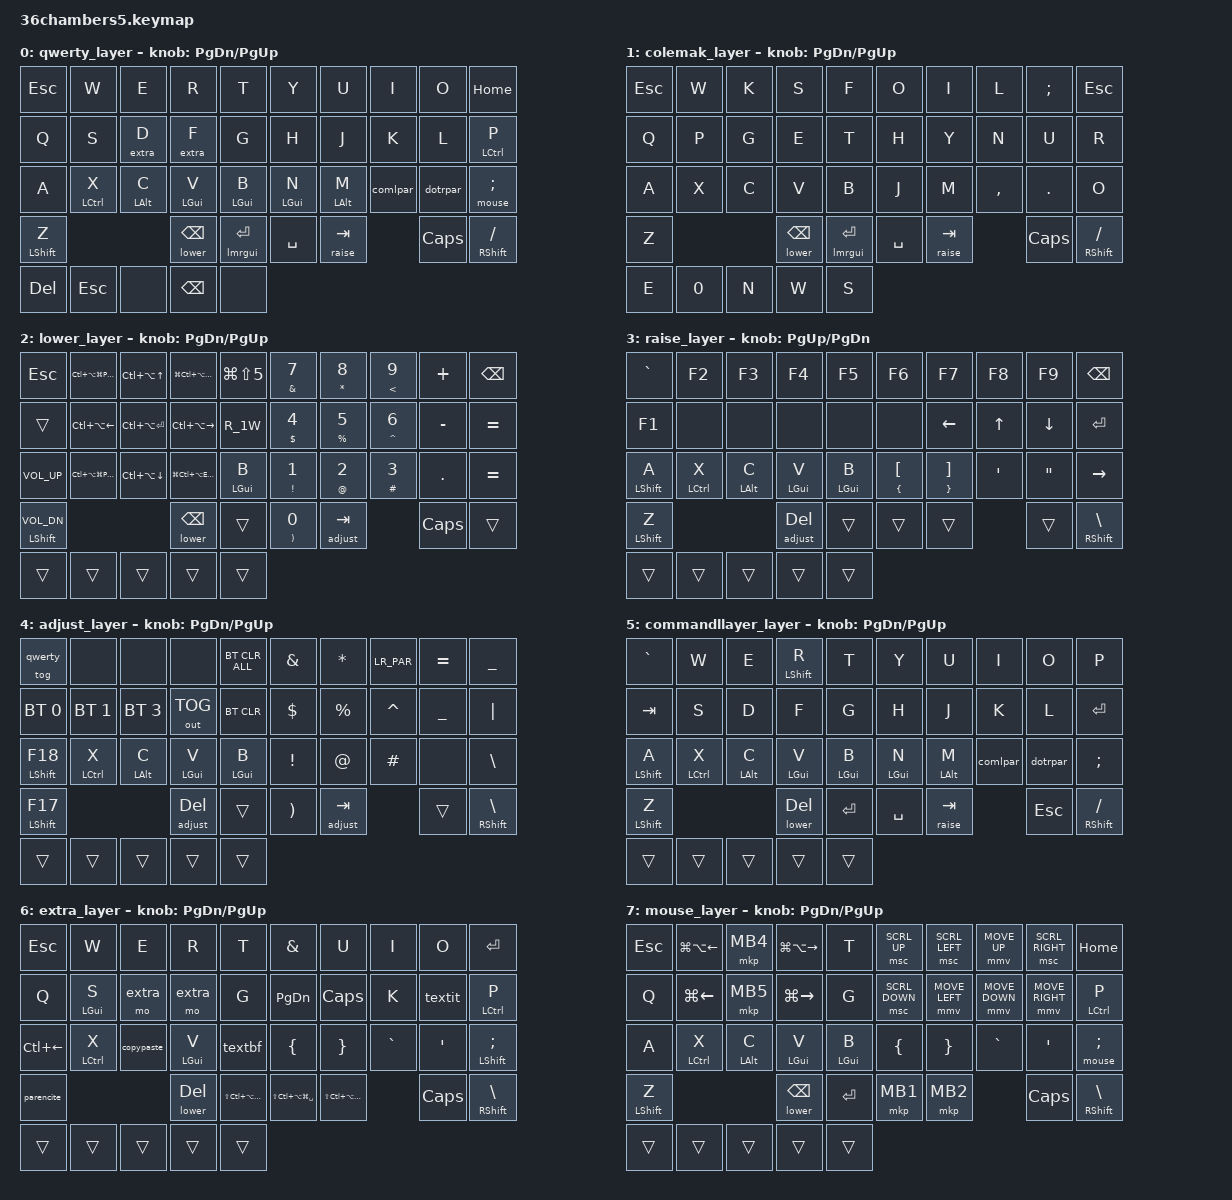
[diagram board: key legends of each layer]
/*
 * Copyright (c) 2020 The ZMK Contributors
 *
 * SPDX-License-Identifier: MIT
west build -d build/365left -p -b seeeduino_xiao_ble -- -DSHIELD=36chambers5_left

west build -d build/365right -p -b seeeduino_xiao_ble -- -DSHIELD=36chambers5_right

docker cp funny_cray:/workspaces/zmk/app/build/365left/zephyr/zmk.uf2 ~/Desktop/36chambers5L.uf2
docker cp funny_cray:/workspaces/zmk/app/build/365Right/zephyr/zmk.uf2 ~/Desktop/36chambers5R.uf2

 */

#include <behaviors.dtsi>
#include <dt-bindings/zmk/keys.h>
#include <dt-bindings/zmk/bt.h>
#include <dt-bindings/zmk/outputs.h>
// #include <dt-bindings/zmk/mouse.h>
#include <dt-bindings/zmk/pointing.h>

#define qwerty 0
#define colemak 1
#define lower 2
#define raise 3
#define adjust 4
#define commandllayer 5
#define extra 6
#define mouse 7
// #define cmtoqw 6
// #define lock 7
// #define locklow 8
// #define unlock 9
// #define lockhigh 10
#define ZMK_POINTING_DEFAULT_MOVE_VAL 3000  // default: 600
#define ZMK_POINTING_DEFAULT_SCRL_VAL 30

&mt {
    tapping-term-ms = <250>;
    flavor = "hold-preferred";
};

&lt {
    tapping-term-ms = <250>;
    flavor = "hold-preferred";
};

/ {
    macros {
        R_1W: R_1W {
            label = "R_1W";
            compatible = "zmk,behavior-macro";
            #binding-cells = <0>;
            wait-ms = <40>;
            tap-ms = <40>;
            bindings
                = <&macro_press &kp LSHFT>
                , <&macro_tap &kp S>
                , <&macro_release &kp LSHFT>
                , <&macro_tap &kp H &kp A &kp W &kp U &kp A &kp J &kp Y &kp D &kp S &kp N>
                ;
        };
        Grader1: GRDR1 {
            label = "GRDR1";
            compatible = "zmk,behavior-macro";
            #binding-cells = <0>;
            wait-ms = <40>;
            tap-ms = <40>;
            bindings
                = <&macro_tap &kp B &kp TAB &kp TAB
                &kp 3 &kp TAB &kp TAB
                &kp 3 &kp TAB &kp TAB
                &kp 3 &kp TAB &kp TAB
                &kp 3 &kp TAB &kp TAB
                &kp 3 &kp TAB &kp TAB
                &kp 3 &kp TAB &kp TAB
                &kp 3 &kp TAB &kp TAB
                &kp 3 &kp TAB &kp TAB
                &kp 3 &kp TAB &kp TAB &kp TAB
                &kp SPACE
                >
                ;
        };
        textit: textit {
            label = "textit";
            compatible = "zmk,behavior-macro";
            #binding-cells = <0>;
            wait-ms = <20>;
            tap-ms = <10>;
            bindings
                = <&macro_tap 
                &kp LBRC &kp LEFT &kp LEFT
                &kp BSLH &kp F &kp K &kp X &kp F &kp L &kp F>
                ,<&macro_press &kp LALT>
                ,<&macro_tap &kp RIGHT &kp RIGHT>
                ,<&macro_release &kp LALT>
                ;
        };
        textbf: textbf {
            label = "textbf";
            compatible = "zmk,behavior-macro";
            #binding-cells = <0>;
            wait-ms = <20>;
            tap-ms = <10>;
            bindings
                = <&macro_tap 
                &kp LBRC &kp LEFT &kp LEFT
                &kp BSLH &kp F &kp K &kp X &kp F &kp B &kp E>
                ,<&macro_press 
                &kp LALT>
                ,<&macro_tap 
                &kp RIGHT &kp RIGHT>
                ,<&macro_release 
                &kp LALT>
                ;
        };
        LR_PAR: LR_PAR {
            label = "LR_PAR";
            compatible = "zmk,behavior-macro";
            #binding-cells = <0>;
            wait-ms = <40>;
            tap-ms = <40>;
            bindings
                = <&macro_press &kp LSHFT>
                , <&macro_tap &kp N9 &kp N0>
                , <&macro_release &kp LSHFT>
                , <&macro_tap &kp LEFT>
                ;
        };
        lmrgui: lmrgui {
            label = "LAYER_MOD";
            compatible = "zmk,behavior-macro";
            wait-ms = <0>;
            tap-ms = <0>;
            #binding-cells = <0>;
            bindings
                = <&macro_press &mo commandllayer &kp RGUI>
                , <&macro_pause_for_release>
                , <&macro_release &mo commandllayer &kp RGUI>
                ;
        };
        parencite: parencite {
            label = "parencite";
            compatible = "zmk,behavior-macro";
            #binding-cells = <0>;
            wait-ms = <10>;
            tap-ms = <20>;
            bindings
                = <&macro_tap &kp BSLH &kp R &kp A &kp S &kp K &kp J &kp C &kp L &kp F &kp K>
                , <&macro_tap &kp LBKT &kp RBKT  &kp LBRC &kp RBRC &kp LEFT &kp LEFT &kp LBKT &kp RBKT &kp RIGHT &kp RIGHT>
                ;
        // \(\beta\)
        beta: beta {
            label = "beta";
            compatible = "zmk,behavior-macro";
            #binding-cells = <0>;
            wait-ms = <10>;
            tap-ms = <30>;
            bindings
                = <&macro_tap &kp BSLH &kp LPAR &kp BSLH &kp B &kp K &kp J &kp A &kp BSLH &kp RPAR>
                ;
        };
        // ($R^2_{adj}$
        radjsq: radjsq {
            label = "radjsq";
            compatible = "zmk,behavior-macro";
            #binding-cells = <0>;
            wait-ms = <10>;
            tap-ms = <30>;
            bindings
                = <&macro_tap &kp LPAR &kp DLLR>
                , <&macro_press &kp RSHFT> 
                , <&kp S>
                , <&macro_release &kp RSHFT>
                , <&kp AMPS &kp UNDER &kp LBRC &kp A &kp G &kp Y &kp RBRC &kp DLLR>
                ;
        };
    };
    behaviors {
        gresc: grave_escape {
            compatible = "zmk,behavior-mod-morph";
            #binding-cells = <0>;
            bindings = <&kp ESC>, <&kp GRAVE>;
            mods = <(MOD_RGUI|MOD_LSFT|MOD_LALT|MOD_LCTL)>;
        };
        mnl: mouse_n_language {
            compatible = "zmk,behavior-hold-tap";
            label = "MOUSE_MODS";
            #binding-cells = <2>;
            tapping-term-ms = <350>;
            quick-tap-ms = <0>;
            flavor = "tap-preferred";
            bindings = <&mo>, <&kp>;
        };
        bhm: balanced_homerow_mods {
            compatible = "zmk,behavior-hold-tap";
            label = "HOMEROW_MODS";
            #binding-cells = <2>;
            tapping-term-ms = <250>;    // <---[[moderate duration]]
            quick-tap-ms = <0>;
            flavor = "balanced";
            bindings = <&kp>, <&kp>;
        };
        tns: tap_number_symbols {
            compatible = "zmk,behavior-hold-tap";
            label = "NUM_SYMBOLS";
            #binding-cells = <2>;
            tapping-term-ms = <250>;    // <---[[moderate duration]]
            quick-tap-ms = <0>;
            flavor = "tap-preferred";
            bindings = <&kp>, <&kp>;
        };//the following two go together
        comlpar: comma_parenthesis {
            compatible = "zmk,behavior-mod-morph";
            label = "COMMA_LPARENTH";
            #binding-cells = <0>;
            bindings = <&kp COMMA>, <&kp LPAR>;
            mods = <(MOD_RSFT)>;
        };
        dotrpar: dot_parenthesis {
            compatible = "zmk,behavior-mod-morph";
            label = "DOT_RPARENTH";
            #binding-cells = <0>;
            bindings = <&kp DOT>, <&kp RPAR>;
            mods = <(MOD_RSFT)>;
        };//the following two go together        
        comlrpar: comma_parentheses {
            compatible = "zmk,behavior-mod-morph";
            label = "COMMA_BOTHPARENTH";
            #binding-cells = <0>;
            bindings = <&kp COMMA>, <&LR_PAR>;
            mods = <(MOD_RSFT)>;
        };
        dotqmark: dot_qmark {
            compatible = "zmk,behavior-mod-morph";
            label = "DOT_QMARK";
            #binding-cells = <0>;
            bindings = <&kp DOT>, <&kp QMARK>;
            mods = <(MOD_RSFT)>;
        };
        qtab: q_cmdandtab {
            compatible = "zmk,behavior-mod-morph";
            label = "Q_CMDANDTAB";
            #binding-cells = <0>;
            bindings = <&kp Q>, <&kp LG(TAB)>;
            mods = <(MOD_LGUI)>;
        };
        tabgui: tabandgui {
            compatible = "zmk,behavior-hold-tap";
            label = "TAB_GUI";
            #binding-cells = <2>;
            flavor = "hold-preferred";
            tapping-term-ms = <200>;
            quick-tap-ms = <125>;
            global-quick-tap;
            bindings = <&lmrgui>, <&kp>;
        };
        copypaste: copypaste {
            compatible = "zmk,behavior-tap-dance";
            #binding-cells = <0>;
            tapping-term-ms = <200>;
            bindings = <&kp LG(C)>, <&kp LG(V)>, <&kp LG(V)>;
        };
        td_mt_bspc: tap_dance_layer_tap {
            compatible = "zmk,behavior-tap-dance";
            #binding-cells = <0>;
            tapping-term-ms = <150>;
            bindings = <&lt lower BSPC>, <&kp BSPC>;
        };
        qlt: quick_layer_tap {
            compatible = "zmk,behavior-hold-tap";
            #binding-cells = <2>;
            tapping-term-ms = <200>;
            quick-tap-ms = <200>;
            flavor = "hold-preferred";
            bindings = <&mo>, <&kp>;
        };
    };
};
    keymap {
        compatible = "zmk,keymap";

        qwerty_layer {
            bindings = <
    &kp ESC        &kp W        &kp E        &kp R        &kp T       &kp Y       &kp U       &kp I       &kp O     &kp HOME
    &kp Q          &kp S        &mnl extra D  &mnl extra F  &kp G       &kp H       &kp J       &kp K       &kp L    &bhm LCTL P
    &kp A          &bhm LCTRL X &bhm LALT C  &bhm LGUI V  &bhm LGUI B &bhm LGUI N &bhm LALT M &comlpar    &dotrpar  &mnl mouse SEMI      
    &bhm LSHFT Z                             &qlt lower BSPC &tabgui 0 RET &kp SPACE   &lt raise TAB  &kp CAPS &mt RSHFT FSLH
    &kp DEL &kp ESC &none &kp BSPC &none
                >;
            sensor-bindings = <&inc_dec_kp PG_DN PG_UP>;
        };
        colemak_layer {
            bindings = <
    &kp ESC        &kp W        &kp K        &kp S       &kp F       &kp O       &kp I       &kp L       &kp SEMI &kp ESC
    &kp Q          &kp P        &kp G        &kp E       &kp T       &kp H       &kp Y       &kp N       &kp U    &kp R
    &kp A          &kp X        &kp C        &kp V       &kp B       &kp J       &kp M       &kp COMMA   &kp DOT  &kp O      
    &kp Z                       &qlt lower BSPC &tabgui 0 RET  &kp SPACE   &lt raise TAB  &kp CAPS &mt RSHFT FSLH
    &kp E &kp N0 &kp N &kp W &kp S
                 >;
            sensor-bindings = <&inc_dec_kp PG_DN PG_UP>;
        };
        lower_layer {
            bindings = <
    &kp ESC       &kp LC(LA(LG(PG_UP)))    &kp LC(LA(UP))   &kp LG(LC(LA(HOME)))      &kp LG(LS(N5))   &tns AMPS N7 &tns ASTRK N8 &tns LT N9 &kp PLUS  &kp BSPC 
    &trans       &kp LC(LA(LEFT)) &kp LC(LA(RET))  &kp LC(LA(RIGHT))    &R_1W            &tns DLLR N4 &tns PRCNT N5 &tns CARET N6 &kp MINUS &kp EQUAL
    &kp C_VOL_UP &kp LC(LA(LG(PG_DN)))    &kp LC(LA(DOWN)) &kp LG(LC(LA(END)))  &bhm LGUI B      &tns EXCL N1 &tns AT N2    &tns POUND N3 &kp DOT &kp EQUAL
    &bhm LSHFT C_VOL_DN            &qlt lower BSPC &trans                         &tns RPAR N0 &lt adjust TAB &kp CAPS             &trans
    &trans &trans &trans &trans &trans
                >;
            sensor-bindings = <&inc_dec_kp PG_DN PG_UP>;
        };
        raise_layer {
            bindings = <
    &kp GRAVE       &kp F2       &kp F3      &kp F4       &kp F5      &kp F6  &kp F7   &kp F8   &kp F9   &kp BSPC
    &kp F1       &none        &none       &none        &none       &none   &kp LEFT &kp UP   &kp DOWN &kp RET
    &bhm LSHFT A &bhm LCTRL X &bhm LALT C &bhm LGUI V  &bhm LGUI B  &tns LBRC LBKT &tns RBRC RBKT &kp SQT &kp DQT &kp RIGHT
    &bhm LSHFT Z                &qlt adjust DEL &trans  &trans &trans &trans                     &mt RSHFT BSLH
    &trans &trans &trans &trans &trans
                >;
            sensor-bindings = <&inc_dec_kp PG_UP PG_DN>;
        };
        adjust_layer {
            bindings = <
    &tog qwerty &none        &none        &none        &bt BT_CLR_ALL     &kp AMPS &kp ASTRK &LR_PAR  &kp EQUAL &kp UNDER
    &bt BT_SEL 0 &bt BT_SEL 1 &bt BT_SEL 3 &out OUT_TOG &bt BT_CLR   &kp DLLR &kp PRCNT &kp CARET &kp UNDER &kp PIPE
    &bhm LSHFT F18 &bhm LCTRL X &bhm LALT C  &bhm LGUI V  &bhm LGUI B &kp EXCL &kp AT    &kp POUND &none &kp BSLH
    &bhm LSHFT F17              &qlt adjust DEL &trans   &kp RPAR &lt adjust TAB &trans &mt RSHFT BSLH
    &trans &trans &trans &trans &trans

                >;
            sensor-bindings = <&inc_dec_kp PG_DN PG_UP>;
        };
        commandllayer_layer {
            bindings = <
    &kp GRAVE        &kp W        &kp E        &bhm LSHFT R        &kp T       &kp Y       &kp U       &kp I    &kp O    &kp P
    &kp TAB      &kp S        &kp D        &kp F        &kp G       &kp H       &kp J       &kp K    &kp L    &kp RET
    &bhm LSHFT A   &bhm LCTRL X &bhm LALT C  &bhm LGUI V  &bhm LGUI B &bhm LGUI N &bhm LALT M &comlpar &dotrpar &kp SEMI
    &bhm LSHFT Z                 &qlt lower DEL &kp RET     &kp SPACE   &lt raise TAB  &kp ESC &mt RSHFT FSLH
    &trans &trans &trans &trans &trans
                >;
            sensor-bindings = <&inc_dec_kp PG_DN PG_UP>;
        };
        extra_layer {
            bindings = <
    &kp ESC        &kp W        &kp E        &kp R        &kp T       &kp AMPS    &kp U       &kp I           &kp O     &kp RET
    &kp Q          &bhm LGUI S        &mo extra  &mo extra     &kp G       &kp PG_DN     &kp CAPS       &kp K           &textit    &bhm LCTL P
    &kp LC(LEFT)   &bhm LCTRL X &copypaste  &bhm LGUI V  &textbf &kp LBRC &kp RBRC &kp GRAVE &kp SQT  &bhm LSHFT SEMI      
    &parencite              &qlt lower DEL &kp LS(LC(LA(LG(RET))))     &kp LS(LC(LA(LG(SPACE))))   &kp LS(LC(LA(LG(TAB))))   &kp CAPS         &mt RSHFT BSLH
    &trans &trans &trans &trans &trans
                >;
            sensor-bindings = <&inc_dec_kp PG_DN PG_UP>;
        };
        mouse_layer {bindings = <
    &kp ESC &kp LG(LA(LEFT)) &mkp MB4  &kp LG(LA(RIGHT))  &kp T       &msc SCRL_UP   &msc SCRL_LEFT &mmv MOVE_UP   &msc SCRL_RIGHT    &kp HOME
    &kp Q   &kp LG(LEFT)     &mkp MB5  &kp LG(RIGHT)      &kp G       &msc SCRL_DOWN &mmv MOVE_LEFT &mmv MOVE_DOWN &mmv MOVE_RIGHT    &bhm LCTL P
    &kp A   &bhm LCTRL X     &bhm LALT C  &bhm LGUI V  &bhm LGUI B &kp LBRC &kp RBRC &kp GRAVE &kp SQT  &mnl mouse SEMI      
    &bhm LSHFT Z                &qlt lower BSPC &kp RET     &mkp MB1   &mkp MB2   &kp CAPS         &mt RSHFT BSLH
    &trans &trans &trans &trans &trans
                >;
            sensor-bindings = <&inc_dec_kp PG_DN PG_UP>;
        };
    };
};
